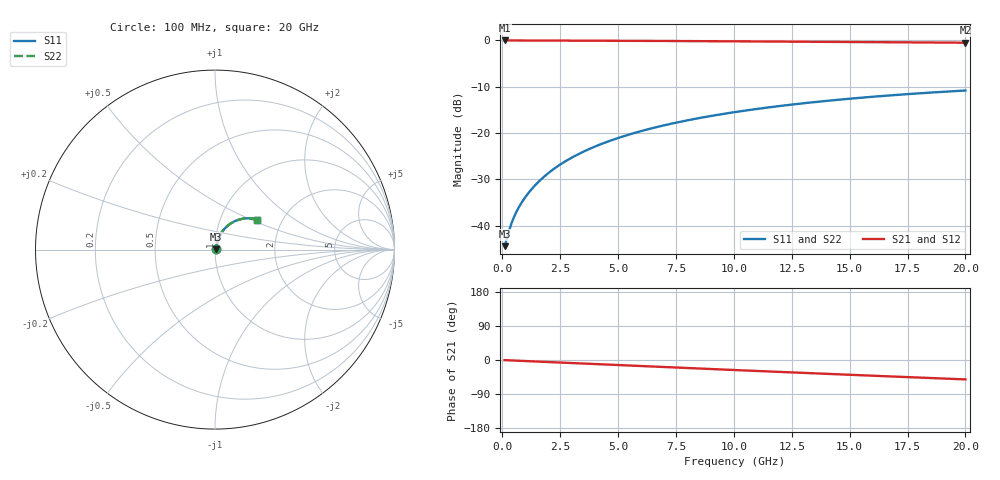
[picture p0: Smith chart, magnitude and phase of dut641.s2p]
! Touchstone file exported from HFSS 2026.1.0
!  File:  C:/ffzhzh/LocalFiles/Ansys_Project_Files/temp_train_TMRDL_641_1783009381_46388.aedt
!  Generated:  12:24:18 AM Jul  3, 2026
!  Design:  TMRDL
!  Project:  temp_train_TMRDL_641_1783009381_46388
! Variables:
!  h_bsmrdl = 2um
!  h_ox = 20um
!  h_rdl = 5um
!  h_sub = 80um
!  h_tmrdl = 2.52um
!  h_tsv = 80um
!  h_via = 3um
!  l_bsmrdl = 300um
!  l_sub = 1255.1um
!  l_tmrdl = 855.1um
!  m_sub = 200um
!  pitch = 33.83um
!  r_tsv = 6um
!  s_tmrdl = 10um
!  w_bsmrdl = 18um
!  w_sub = 500um
!  w_tmrdl = 22.43um
!  x_tsv_center1 = 866.315um
!  x_tsv_center2 = 1184.315um
!  x_tsv_center3 = 2061.845um
!  x_tsv_center4 = 2379.845um
!  x_tsv_center5 = 3257.375um
!  x_tsv_center6 = 3575.375um
# GHz S MA R 50.000000
! Terminal data exported
! Port[1] = TM_RDL1_1_T1
! Port[2] = TM_RDL1_1_T2
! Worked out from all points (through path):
!   200 points, 100 MHz to 20 GHz, reference 50 ohm
!   highest |S21| = -0.05 dB at 100 MHz (marker M1); lowest = -0.5 dB at 20 GHz (marker M2)
!   group delay of S21, straight-line fit = 7.11 ps
!   lowest |S11| = -44.4 dB at 100 MHz (marker M3), VSWR 1.01, Z = 50.6 + j0.229 ohm
!   |S11| at or under -10 dB: start of sweep to end of sweep
!   |S22| runs from -44.4 to -10.8 dB; largest |S21 - S12| = 3.5e-15
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0.1  0.006042 22.0  0.9944 -0.3  0.9944 -0.3  0.006043 22.0
! Gamma 0 0 0 0
! Port Impedance 50 0 50 0
0.3  0.008998 45.9  0.9938 -0.9  0.9938 -0.9  0.008998 45.9
0.4  0.01069 51.4  0.9935 -1.2  0.9935 -1.2  0.01069 51.4
0.5  0.01236 55.2  0.9931 -1.4  0.9931 -1.4  0.01236 55.2
0.6  0.01401 58.0  0.9929 -1.7  0.9929 -1.7  0.01401 58.0
0.7  0.01563 60.3  0.9926 -2.0  0.9926 -2.0  0.01563 60.3
0.9  0.01887 63.8  0.9923 -2.5  0.9923 -2.5  0.01887 63.8
1.2  0.02377 67.3  0.9919 -3.3  0.9919 -3.3  0.02377 67.3
1.7  0.03212 70.6  0.9914 -4.6  0.9914 -4.6  0.03212 70.6
2.2  0.04062 72.1  0.9908 -5.9  0.9908 -5.9  0.04062 72.1
2.8  0.0509 72.7  0.9901 -7.5  0.9901 -7.5  0.05091 72.7
3.5  0.06292 72.5  0.9892 -9.4  0.9892 -9.4  0.06292 72.5
4.2  0.07487 71.7  0.988 -11.3  0.988 -11.3  0.07488 71.7
5  0.0884 70.4  0.9865 -13.4  0.9865 -13.4  0.08841 70.4
5.9  0.1034 68.7  0.9846 -15.8  0.9846 -15.8  0.1034 68.7
6.8  0.1181 66.8  0.9824 -18.1  0.9824 -18.1  0.1181 66.7
8.3  0.1419 63.4  0.9784 -22.0  0.9784 -22.0  0.1419 63.3
10.1  0.169 59.1  0.973 -26.7  0.973 -26.7  0.169 59.1
11.7  0.1917 55.3  0.9679 -30.8  0.9679 -30.8  0.1918 55.3
13.4  0.2144 51.2  0.9623 -35.0  0.9623 -35.0  0.2145 51.2
16.7  0.254 43.4  0.9512 -43.2  0.9512 -43.2  0.254 43.3
20  0.2873 35.7  0.9408 -51.2  0.9408 -51.2  0.2874 35.6
